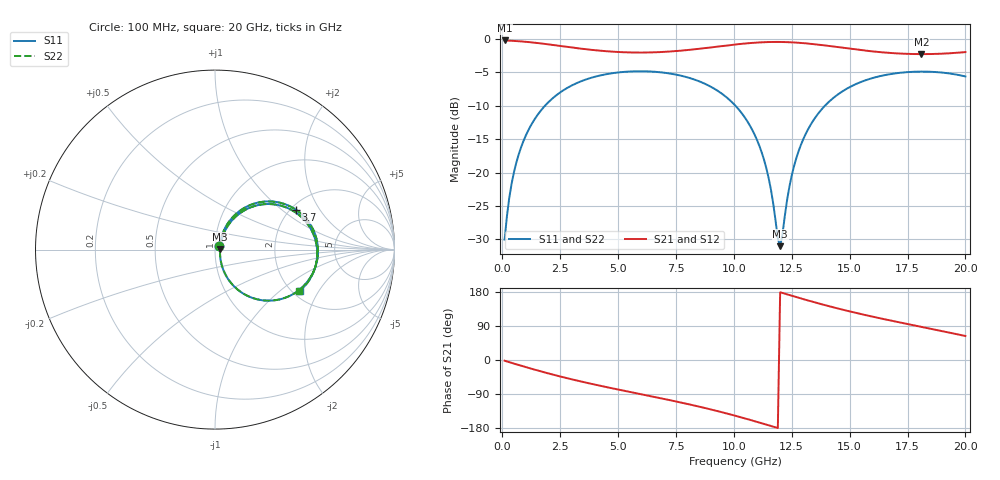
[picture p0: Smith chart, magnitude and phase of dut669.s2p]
! Touchstone file exported from HFSS 2026.1.0
!  File:  C:/ffzhzh/LocalFiles/Ansys_Project_Files/temp_train_TSV_RDL_669_1783132030_50312.aedt
!  Generated:  10:41:44 AM Jul  4, 2026
!  Design:  TSV_RDL
!  Project:  temp_train_TSV_RDL_669_1783132030_50312
! Variables:
!  h_bsmrdl = 5.09um
!  h_ox = 20um
!  h_rdl = 5um
!  h_sub = 81.36um
!  h_tmrdl = 2.63um
!  h_tsv = 81.36um
!  h_via = 3um
!  l_bsmrdl = 772.62um
!  l_sub = 5103.36um
!  l_tmrdl = 566.06um
!  m_sub = 200um
!  pitch = 51.14um
!  r_tsv = 8.61um
!  s_tmrdl = 10um
!  w_bsmrdl = 14.45um
!  w_sub = 500um
!  w_tmrdl = 25.97um
!  x_tsv_center1 = 579.045um
!  x_tsv_center2 = 1366.115um
!  x_tsv_center3 = 1958.145um
!  x_tsv_center4 = 2745.215um
!  x_tsv_center5 = 3337.245um
!  x_tsv_center6 = 4124.315um
# GHz S MA R 50.000000
! Terminal data exported
! Port[1] = TM_RDL1_1_T1
! Port[2] = TM_RDL5_1_T1
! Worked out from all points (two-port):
!   200 points, 100 MHz to 20 GHz, reference 50 ohm
!   highest |S21| = -0.21 dB at 100 MHz (marker M1); lowest = -2.3 dB at 18.1 GHz (marker M2)
!   |S21| within 3 dB of the highest: start of sweep to end of sweep
!   lowest |S11| = -31.0 dB at 12 GHz (marker M3), VSWR 1.06, Z = 52.9 + j0.0657 ohm
!   |S11| at or under -10 dB: start of sweep to 1.842 GHz; 10.07 GHz to 13.93 GHz (3.861 GHz wide, 32.2 % of centre)
!   |S22| runs from -30.9 to -4.8 dB; largest |S21 - S12| = 1.7e-14
!   S11 on the Smith chart (normalised r, x): 100 MHz: 1.05, +0.04; 3.7 GHz: 2.14, +1.27; 20 GHz: 2.18, -1.39
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0.1  0.0315 38.1  0.9757 -1.9  0.9757 -1.9  0.0315 38.1
! Gamma 0 0 0 0
! Port Impedance 50 0 50 0
0.3  0.06453 60.7  0.9725 -5.7  0.9725 -5.7  0.06454 60.7
0.5  0.1 64.8  0.9682 -9.4  0.9682 -9.4  0.1 64.8
1.1  0.2034 61.6  0.9504 -20.2  0.9504 -20.2  0.2034 61.6
2.1  0.3506 48.0  0.9071 -37.2  0.9071 -37.2  0.3506 48.0
3.5  0.49 28.7  0.8431 -58.1  0.8431 -58.1  0.4899 28.7
3.7  0.5038 26.1  0.8354 -60.9  0.8354 -60.9  0.5038 26.1
5.3  0.5684 6.2  0.7956 -81.7  0.7956 -81.7  0.5684 6.3
6.8  0.5644 -11.6  0.7982 -100.4  0.7982 -100.4  0.5644 -11.6
8.6  0.4748 -34.4  0.8489 -124.5  0.8489 -124.5  0.4747 -34.4
10.1  0.3124 -55.2  0.9116 -147.7  0.9116 -147.7  0.3124 -55.1
10.8  0.2079 -64.3  0.9357 -159.7  0.9357 -159.7  0.2079 -64.2
11.3  0.1253 -67.7  0.9469 -168.6  0.9469 -168.6  0.1253 -67.6
11.6  0.07484 -64.0  0.9504 -174.1  0.9504 -174.1  0.07491 -63.7
11.9  0.03219 -30.7  0.9512 -179.5  0.9512 -179.5  0.03247 -30.3
12  0.02812 1.3  0.9509 178.7  0.9509 178.7  0.02849 1.3
12.6  0.1119 61.9  0.9427 167.8  0.9427 167.8  0.112 61.7
13.4  0.2408 56.0  0.9176 153.7  0.9176 153.7  0.2409 55.9
14.7  0.4069 38.5  0.8601 132.8  0.8601 132.8  0.4069 38.4
16.7  0.5441 12.9  0.7877 105.1  0.7877 105.1  0.5441 12.8
18.1  0.5703 -3.6  0.7709 87.5  0.7709 87.5  0.5703 -3.6
20  0.5245 -26.1  0.7985 63.3  0.7985 63.3  0.5244 -26.2
